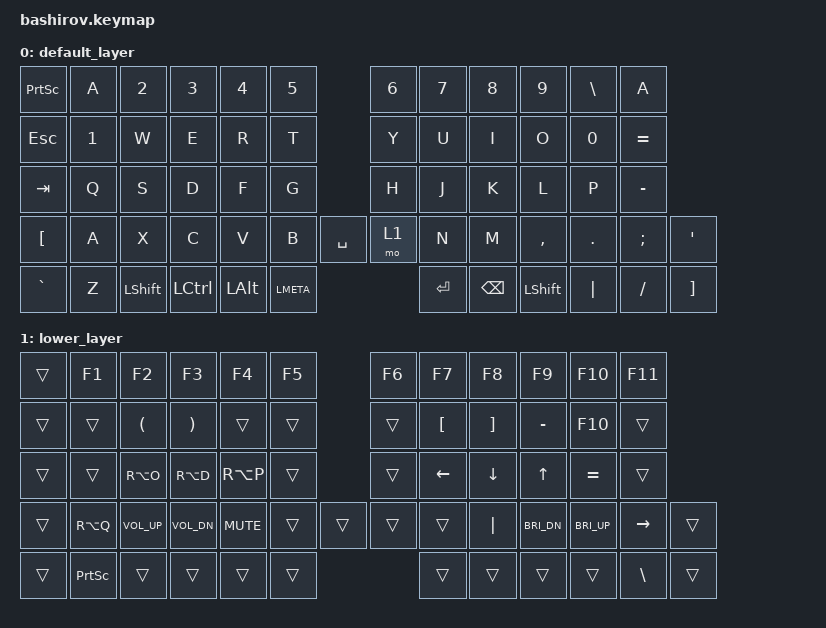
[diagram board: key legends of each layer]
#include <behaviors.dtsi>
#include <dt-bindings/zmk/keys.h>

/ {
    keymap {
        compatible = "zmk,keymap";

        default_layer {
            // ---------------------------------------------------------------------------------
            // | ESC  |  1  |  2  |  3  |  4  |  9  |     |  6  |  7  |  8  |  9  |  0  -----------| BKSP |
            // | TAB  |  Q  |  W  |  F  |  P  |  G  |     |  J  |  U  |  Y  |  ;  |  P  |  \   |
            // | CAPS |  A  |  R  |  S  |  T  |  D  |     |  N  |  E  |  I  |  O  |  ;  |  ENT |
            // |   `  |  Z  |  X  |  C  |  V  |  B  |     |  K  |  M  |  ,  |  .  |  /  | APOS |
            // | CTRL | ALT | GUI | SPC | SPC |SHIFT |     | SPC | LOW |LARW |DARW |UARW | RARW |

            bindings = <
&kp PSCRN	&kp A	&kp N2	&kp N3	&kp N4		&kp N5						&kp N6		&kp N7		&kp N8		&kp N9		&kp BSLH	&kp A
&kp ESC		&kp N1	&kp W	&kp E	&kp R		&kp T						&kp Y		&kp U		&kp I		&kp O		&kp N0		&kp EQUAL
&kp TAB		&kp Q	&kp S	&kp D	&kp F		&kp G						&kp H		&kp J		&kp K		&kp L		&kp P		&kp MINUS		
&kp LBKT	&kp A	&kp X	&kp C	&kp V		&kp B		&kp SPACE	&mo 1		&kp N		&kp M		&kp COMMA	&kp DOT		&kp SEMI	&kp SQT
&kp GRAVE	&kp Z	&kp LSHIFT	&kp LCTRL	&kp LEFT_ALT	&kp LMETA	&kp ENTER	&kp BSPC	&kp LSHIFT			&kp PIPE	&kp FSLH	&kp RBKT
            >;
        };

        lower_layer {
            // ------------------------------------------------------------------------------------------------------------
            // |       |  BT1  |  BT2  |  BT3  |  BT4  |  BT5  |          |       |       |       |       |       | BTCLR |
            // |       |       |       |       |       |       |          |       |       |       |       |       |       |
            // |       |       |       | LPAR  | RPAR  |       |          |       | LBKT  | RBKT  |       |       |       |
            // |       |       |       |       |       |       |          |       |       |       |       |       |       |

            bindings = <
&trans          &kp F1             &kp F2             &kp F3             &kp F4             &kp F5                          &kp F6  &kp F7    &kp F8		&kp F9		&kp F10		&kp F11
&trans          &trans             &kp LPAR           &kp RPAR           &trans             &trans                          &trans  &kp LBKT  &kp RBKT  	&kp MINUS	&kp F10		&trans
&trans          &trans		   &kp RA(O)          &kp RA(D)          &kp RA(P)          &trans                          &trans  &kp LEFT  &kp DOWN		&kp UP		&kp EQUAL	&trans
&trans          &kp RA(Q)          &kp C_VOL_UP       &kp C_VOL_DN       &kp C_MUTE         &trans          &trans  &trans  &trans  &kp PIPE  &kp C_BRI_DN	&kp C_BRI_UP	&kp RIGHT	&trans
&trans        	&kp PSCRN          &trans				 &trans             &trans          &trans  &trans  &trans  &trans    			&trans		&kp BSLH	&trans
            >;
        };
    };
};
